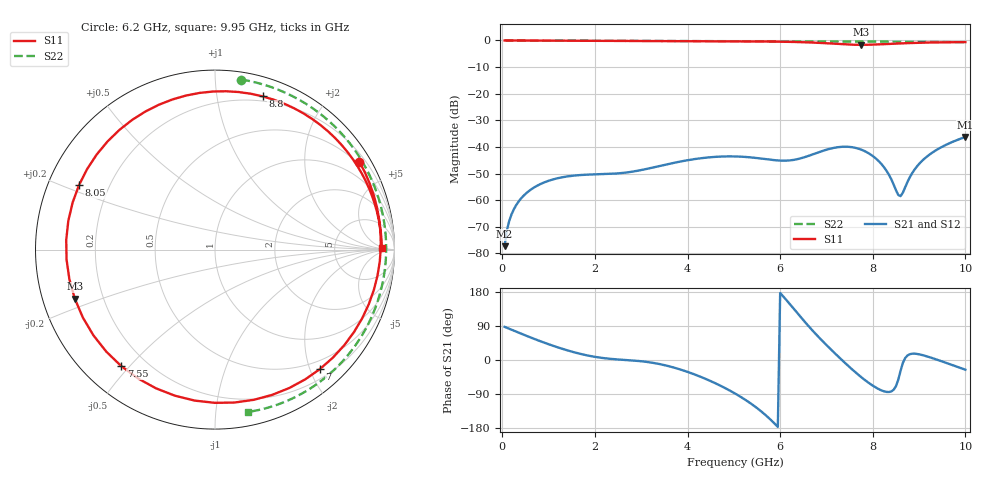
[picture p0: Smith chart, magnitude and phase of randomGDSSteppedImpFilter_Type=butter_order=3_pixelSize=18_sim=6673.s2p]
! freq	dB(S11)	phase(S11)	dB(S12)	phase(S12)
!  dB(S21)	phase(S21)	dB(S22)	phase(S22)
!S-par simulation data
#  GHz  S  DB  R 50
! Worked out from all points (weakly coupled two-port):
!   200 points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, 50 MHz to 10 GHz, reference 50 ohm
!   highest |S21| = -36.26 dB at 10 GHz (marker M1); lowest = -77.3 dB at 50 MHz (marker M2)
!   lowest |S11| = -1.6 dB at 7.75 GHz (marker M3), VSWR 10.60, Z = 4.85 - j8.44 ohm
!   |S11| at or under -10 dB: nowhere
!   |S22| runs from -0.7 to 0.0 dB; largest |S21 - S12| = 0
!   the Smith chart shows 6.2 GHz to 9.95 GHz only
!   S11 on the Smith chart (normalised r, x): 6.2 GHz: 0.41, +3.52; 7 GHz: 0.35, -2.16; 7.55 GHz: 0.11, -0.47; 8.05 GHz: 0.09, +0.22; 8.8 GHz: 0.16, +1.35; 9.95 GHz: 27, +4
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0.05  -0.00 -3.0  -77.30 87.5  -77.30 87.5  -0.00 -2.2
0.2  -0.01 -11.8  -65.32 79.8  -65.32 79.8  -0.01 -8.7
0.5  -0.04 -29.3  -57.67 64.8  -57.67 64.8  -0.03 -21.5
1.75  -0.11 -97.4  -50.50 14.4  -50.50 14.4  -0.09 -74.5
2.6  -0.15 -138.4  -49.78 0.5  -49.78 0.5  -0.14 -110.1
3.4  -0.19 -174.9  -47.16 -10.8  -47.16 -10.8  -0.19 -144.1
4.25  -0.24 146.0  -44.34 -42.8  -44.34 -42.8  -0.24 178.1
5.05  -0.30 105.6  -43.59 -90.1  -43.59 -90.1  -0.30 139.9
5.65  -0.38 70.4  -44.51 -141.6  -44.51 -141.6  -0.34 109.6
6.2  -0.52 31.3  -45.08 148.9  -45.08 148.9  -0.36 81.2
6.7  -0.79 -14.2  -42.82 77.6  -42.82 77.6  -0.38 55.6
7  -1.05 -48.8  -41.05 39.5  -41.05 39.5  -0.39 40.7
7.3  -1.37 -90.1  -40.00 3.8  -40.00 3.8  -0.39 26.2
7.55  -1.59 -128.9  -40.10 -24.3  -40.10 -24.3  -0.40 14.5
7.75  -1.64 -160.7  -41.02 -45.2  -41.02 -45.2  -0.41 5.5
8.05  -1.53 154.6  -44.11 -71.5  -44.11 -71.5  -0.42 -7.5
8.35  -1.29 116.8  -50.49 -84.5  -50.49 -84.5  -0.44 -19.9
8.6  -1.10 90.7  -58.49 -28.5  -58.49 -28.5  -0.46 -29.7
8.8  -0.97 72.8  -51.39 15.3  -51.39 15.3  -0.48 -37.4
9.35  -0.74 33.2  -41.42 2.4  -41.42 2.4  -0.56 -57.4
9.95  -0.63 0.7  -36.57 -23.4  -36.57 -23.4  -0.70 -78.6
10  -0.63 -1.7  -36.26 -25.6  -36.26 -25.6  -0.71 -80.3
